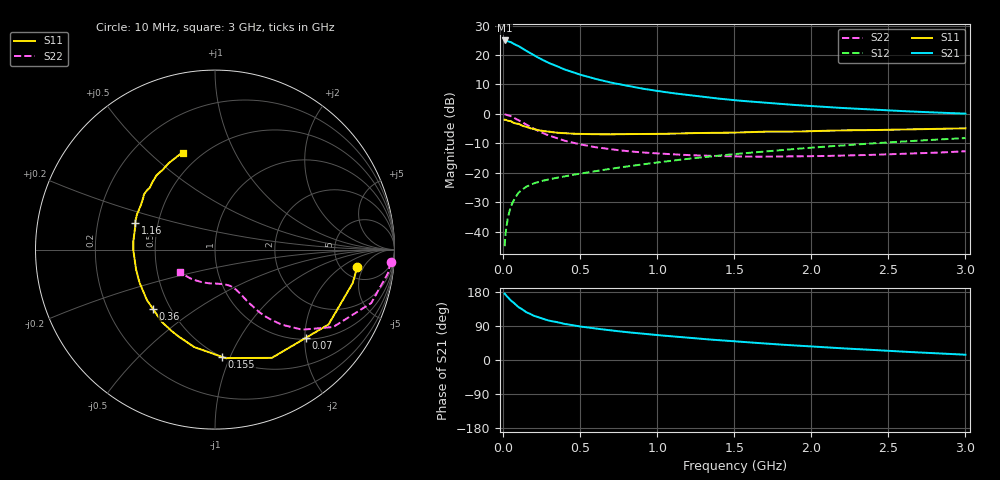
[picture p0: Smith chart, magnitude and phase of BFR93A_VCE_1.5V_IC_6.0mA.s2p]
! Infineon Technologies  Discrete & RF Semiconductors
! BFR93A
! VCE =  1.5 V,  IC =  6.0 mA
! Common Emitter S-Parameters:  Nov 2015
# GHz  S  MA  R  50
!  f  S11  S21  S12  S22
! GHz  MAG  ANG  MAG  ANG  MAG  ANG  MAG  ANG
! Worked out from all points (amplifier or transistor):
!   180 points, 10 MHz to 3 GHz, reference 50 ohm
!   highest |S21| = 24.9 dB at 10 MHz (marker M1)
!   |S21| within 3 dB of that: start of sweep to 134 MHz
!   unconditionally stable (mu >= 1): 666.9 MHz to end of sweep
!   at 160 MHz: K = 0.38, MSG = 22.8 dB, |S12| = -24.5 dB
!   at 1.22 GHz: K = 1.13, MAG = 8.5 dB, |S12| = -15.1 dB
!   at 3 GHz: K = 1.01, MAG = 3.5 dB, |S12| = -8.2 dB
!   S11 on the Smith chart (normalised r, x): 10 MHz: 6.93, -3.66; 70 MHz: 1.03, -2.02; 155 MHz: 0.50, -0.94; 360 MHz: 0.40, -0.34; 1.16 GHz: 0.37, +0.14; 3 GHz: 0.40, +0.64
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0.01  0.7978 -6.9  17.67 175.1  0.0057 86.5  0.9817 -4.0
0.02  0.79 -13.6  17.53 170.3  0.0113 82.0  0.972 -7.9
0.05  0.7577 -33.4  16.58 157.1  0.0267 73.2  0.92 -18.9
0.07  0.7056 -44.2  15.46 150.7  0.0343 66.9  0.8607 -24.1
0.1  0.6813 -62.3  14.22 139.5  0.0461 61.4  0.7874 -33.2
0.15  0.6071 -84.5  11.81 126.2  0.0582 53.9  0.6594 -42.6
0.155  0.5995 -86.1  11.61 125.4  0.059 53.5  0.6491 -43.1
0.2  0.5551 -102.1  9.889 116.7  0.0663 50.2  0.5589 -48.4
0.24  0.5237 -113.2  8.689 111.0  0.0713 48.6  0.4981 -51.4
0.26  0.5139 -118.1  8.174 108.3  0.0737 48.1  0.4719 -52.7
0.3  0.4997 -126.6  7.279 103.7  0.0779 47.5  0.4273 -54.7
0.36  0.4778 -136.6  6.297 99.1  0.0836 47.8  0.3812 -56.4
0.4  0.4718 -143.6  5.672 95.1  0.0874 47.9  0.3507 -57.7
0.52  0.457 -158.2  4.499 87.4  0.099 49.3  0.2981 -59.5
0.7  0.451 -173.3  3.407 77.9  0.1174 51.4  0.2509 -62.4
0.8  0.4554 -179.8  3.014 73.5  0.128 52.5  0.2343 -64.3
1.02  0.4587 167.8  2.414 65.1  0.1522 53.4  0.2124 -69.3
1.16  0.4676 161.7  2.158 60.3  0.1684 53.5  0.2028 -73.6
1.52  0.4833 148.1  1.693 48.6  0.2104 52.7  0.19 -86.3
2.02  0.5125 132.8  1.352 35.2  0.2699 49.4  0.1923 -106.1
2.52  0.5403 120.1  1.142 23.8  0.3316 44.5  0.2071 -126.7
3  0.5702 108.5  1.012 14.0  0.3898 38.7  0.2329 -147.9
